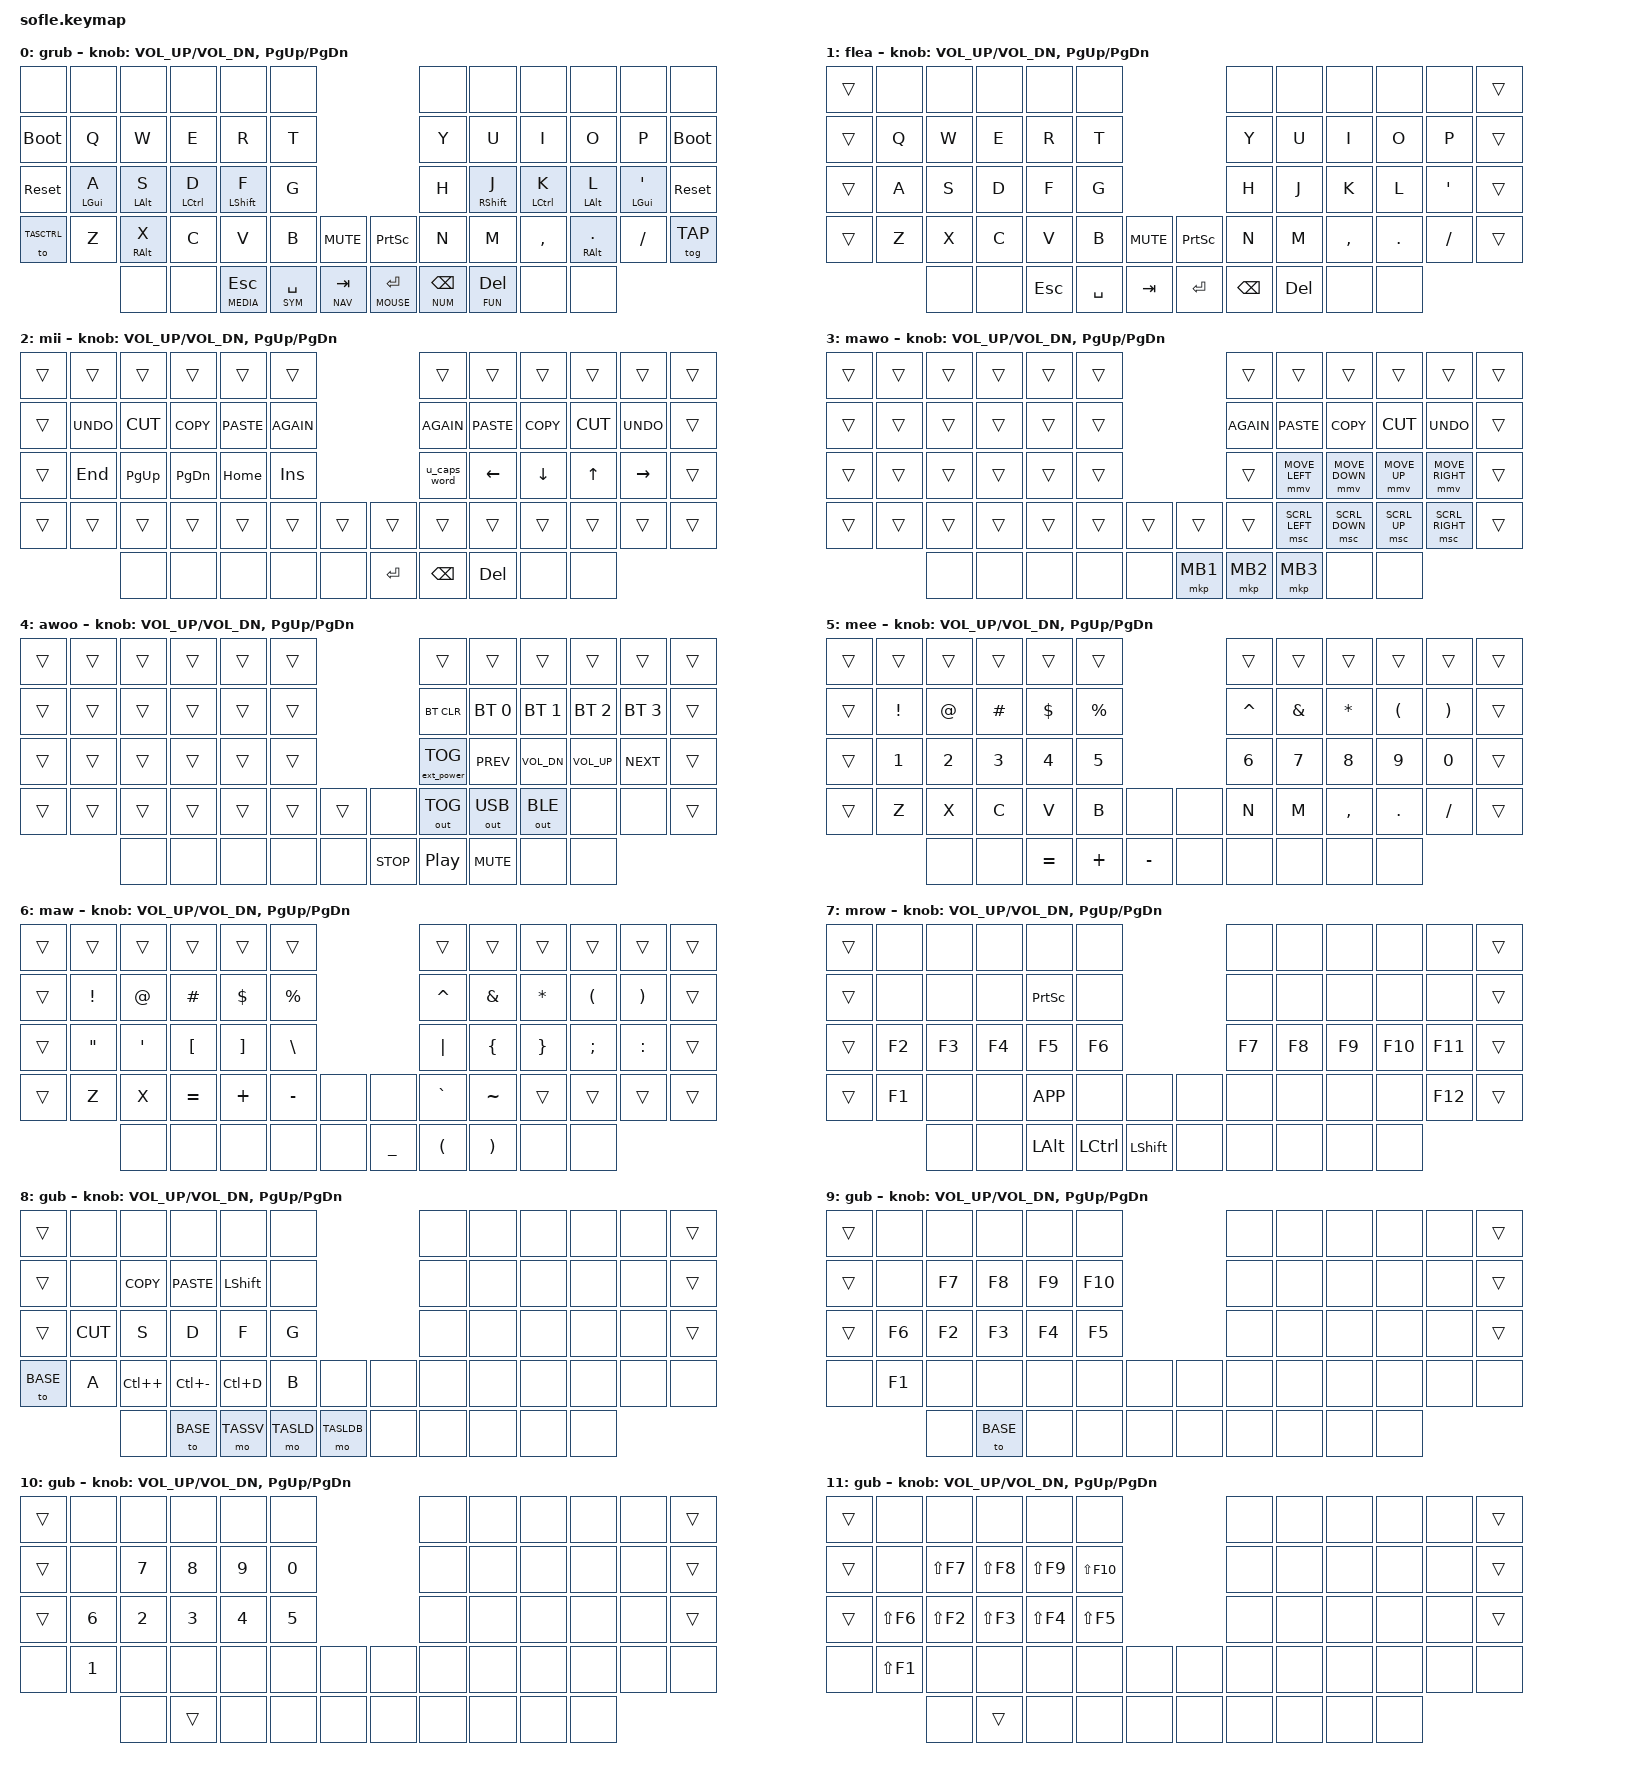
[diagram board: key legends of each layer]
/*
 * Copyright (c) 2020 The ZMK Contributors
 *
 * SPDX-License-Identifier: MIT
 */

#include <behaviors.dtsi>
#include <dt-bindings/zmk/keys.h>
#include <dt-bindings/zmk/pointing.h>
#include <dt-bindings/zmk/bt.h>
#include <dt-bindings/zmk/rgb.h>
#include <dt-bindings/zmk/outputs.h>
#include <dt-bindings/zmk/ext_power.h>

#include "zmk-helpers/key-labels/sofle.h"

#define BASE     0
#define TAP      1
#define NAV      2
#define MOUSE    3
#define MEDIA    4
#define NUM      5
#define SYM      6
#define FUN      7
#define TASCTRL  8
#define TASLD    9
#define TASLDB   10
#define TASSV    11

/ {
    behaviors {
        hml: hml {
            compatible = "zmk,behavior-hold-tap";
            #binding-cells = <2>;
            flavor = "balanced";
            tapping-term-ms = <280>;
            quick-tap-ms = <175>;
            require-prior-idle-ms = <125>;
            bindings = <&kp>, <&kp>;
            hold-trigger-key-positions = <KEYS_R THUMBS>;
            hold-trigger-on-release;
        };
        
        hmr: hmr {
            compatible = "zmk,behavior-hold-tap";
            #binding-cells = <2>;
            tapping-term-ms = <280>;
            quick-tap-ms = <175>;
            require-prior-idle-ms = <125>;
            bindings = <&kp>, <&kp>;
            hold-trigger-key-positions = <KEYS_L THUMBS>;
            hold-trigger-on-release;
        };

        u_lt: u_lt {
            compatible = "zmk,behavior-hold-tap";
            #binding-cells = <2>;
            tapping-term-ms = <200>;
            flavor = "tap-preferred";
            bindings = <&mo>, <&kp>;
        };
        
        u_caps_word: u_caps_word {
            compatible = "zmk,behavior-mod-morph";
            #binding-cells = <0>;
            bindings = <&caps_word>, <&kp CAPS>;
            mods = <(MOD_LSFT|MOD_RSFT)>;
        };
    };

    keymap {
        compatible = "zmk,keymap";

        default_layer {
            display-name = "grub";
// --------------------------------------------------------------------------------------------------
// | BOOT |  1  |  2  |  3   |  4  |   5   |                 |   6   |  7  |  8  |  9  |  0  | BOOT |
// | RST  |  Q  |  W  |  E   |  R  |   T   |                 |   Y   |  U  |  I  |  O  |  P  | RST  |
// |      |  A  |  S  |  D   |  F  |   G   |                 |   H   |  J  |  K  |  L  |  '  |      |
// |      |  Z  |  X  |  C   |  V  |   B   | MUTE |  | PSCR  |   N   |  M  |  ,  |  .  |  /  |      |
//              |     |      | ESC | SPACE | TAB  |  | ENTER | BKSPC | DEL |     |     |
            bindings = <
&none       &none       &none       &none           &none           &none					                            &none           &none           &none           &none           &none           &none
&bootloader &kp Q       &kp W       &kp E           &kp R	        &kp T							                    &kp Y           &kp U           &kp I           &kp O           &kp P           &bootloader
&sys_reset  &hml LGUI A &hml LALT S &hml LCTRL D    &hml LSHFT F 	&kp G							                    &kp H           &hmr RSHFT J    &hmr LCTRL K    &hmr LALT L     &hmr LGUI SQT   &sys_reset
&to TASCTRL &kp Z       &hml RALT X &kp C           &kp V           &kp B           &kp C_MUTE          &kp PSCRN       &kp N           &kp M           &kp COMMA       &hmr RALT DOT   &kp FSLH        &tog TAP
                        &none	    &none           &u_lt MEDIA ESC &u_lt SYM SPACE &u_lt NAV TAB	    &u_lt MOUSE RET &u_lt NUM BSPC  &u_lt FUN DEL   &none           &none
            >;

            sensor-bindings = <&inc_dec_kp C_VOL_UP C_VOL_DN &inc_dec_kp PG_UP PG_DN>;
        };

        tap_layer {
            display-name = "flea";
// -------------------------------------------------------------------------------------------------
// | BOOT |  1  |  2  |  3  |  4  |   5   |                 |   6   |  7  |  8  |  9  |  0  | BOOT |
// | RST  |  Q  |  W  |  E  |  R  |   T   |                 |   Y   |  U  |  I  |  O  |  P  | RST  |
// |      |  A  |  S  |  D  |  F  |   G   |                 |   H   |  J  |  K  |  L  |  '  |      |
// |      |  Z  |  X  |  C  |  V  |   B   | MUTE |  | PSCR  |   N   |  M  |  ,  |  .  |  /  |      |
//              |     |     | ESC | SPACE | TAB  |  | ENTER | BKSPC | DEL |     |     |
            bindings = <
&trans  &none   &none   &none   &none   &none					            &none       &none   &none       &none   &none       &trans
&trans  &kp Q   &kp W   &kp E   &kp R	&kp T							    &kp Y       &kp U   &kp I       &kp O   &kp P       &trans
&trans  &kp A   &kp S   &kp D	&kp F   &kp G					            &kp H       &kp J   &kp K       &kp L   &kp SQT     &trans
&trans  &kp Z   &kp X	&kp C   &kp V   &kp B       &kp C_MUTE  &kp PSCRN   &kp N       &kp M   &kp COMMA   &kp DOT &kp FSLH    &trans
                &none	&none   &kp ESC &kp SPACE   &kp TAB	    &kp RET     &kp BSPC    &kp DEL &none       &none
            >;

            sensor-bindings = <&inc_dec_kp C_VOL_UP C_VOL_DN &inc_dec_kp PG_UP PG_DN>;
        };

        nav_layer {
            display-name = "mii";
// ----------------------------------------------------------------------------------------------------
// | BOOT |  1  |  2   |  3   |  4   |  5  |               |  6    |   7   |  8   |  9  |   0  | BOOT |
// | RST  |  Q  |  W   |  E   |  R   |  T  |               | REDO  | PASTE | COPY | CUT | UNDO | RST  |
// |      | END | PGUP | PGDN | HOME |  G  |               |  H    |   🠜   |  🠟   |  🠝  |   🠞  |      |
// |      |  Z  |  X   |  C   |  V   |  B  |    |  |       |  N    |   M   |  ,   |  .  |  /   |      |
//              |      |      |      |     |    |  | ENTER | BKSPC |  DEL  |      |     |
            bindings = <
&trans  &trans      &trans      &trans      &trans      &trans						&trans          &trans      &trans      &trans      &trans      &trans
&trans  &kp K_UNDO  &kp K_CUT   &kp K_COPY  &kp K_PASTE	&kp K_AGAIN					&kp K_AGAIN     &kp K_PASTE &kp K_COPY  &kp K_CUT   &kp K_UNDO  &trans
&trans  &kp END     &kp PG_UP   &kp PG_DN	&kp HOME	&kp INS				        &u_caps_word    &kp LEFT    &kp DOWN    &kp UP      &kp RIGHT   &trans
&trans  &trans      &trans	    &trans      &trans      &trans      &trans  &trans  &trans          &trans      &trans      &trans      &trans      &trans
                    &none	    &none       &none       &none       &none	&kp RET &kp BSPC        &kp DEL     &none       &none
            >;

            sensor-bindings = <&inc_dec_kp C_VOL_UP C_VOL_DN &inc_dec_kp PG_UP PG_DN>;
        };

        mouse_layer {
            display-name = "mawo";
// ------------------------------------------------------------------------------------------------
// | BOOT |  1  |  2  |  3  |  4  |  5  |               |  6   |   7   |  8   |  9  |   0  | BOOT |
// | RST  |  Q  |  W  |  E  |  R  |  T  |               | REDO | PASTE | COPY | CUT | UNDO | RST  |
// |      |  A  |  S  |  D  |  F  |  G  |               |  H   |   ⬅   |  ⬇   |  ⬆  |  ➡   |      |
// |      |  Z  |  X  |  C  |  V  |  B  |    |  |       |  N   |   ⇦   |  ⇧   |  ⇩  |  ⇨   |      |
//              |     |     |     |     |    |  | MB_L  | MB_R | MB_M  |      |     |
            bindings = <
&trans  &trans      &trans      &trans      &trans      &trans						        &trans      &trans          &trans          &trans          &trans          &trans
&trans  &trans      &trans      &trans      &trans      &trans						        &kp K_AGAIN &kp K_PASTE     &kp K_COPY      &kp K_CUT       &kp K_UNDO      &trans
&trans  &trans      &trans      &trans      &trans      &trans						        &trans      &mmv MOVE_LEFT  &mmv MOVE_DOWN  &mmv MOVE_UP    &mmv MOVE_RIGHT &trans
&trans  &trans      &trans  	&trans      &trans      &trans      &trans      &trans      &trans      &msc SCRL_LEFT  &msc SCRL_DOWN  &msc SCRL_UP    &msc SCRL_RIGHT &trans
                    &none	    &none       &none       &none       &none	    &mkp MB1    &mkp MB2    &mkp MB3        &none           &none
            >;

            sensor-bindings = <&inc_dec_kp C_VOL_UP C_VOL_DN &inc_dec_kp PG_UP PG_DN>;
        };

        media_layer {
            display-name = "awoo";
// ----------------------------------------------------------------------------------------------
// | BOOT |  1  |  2  |  3  |  4  |  5  |             |  6   |   7  |  8   |  9   |   0  | BOOT |
// | RST  |  Q  |  W  |  E  |  R  |  T  |             | CLR  | BL 0 | BL 1 | BL 2 | BL 3 | RST  |
// |      |  A  |  S  |  D  |  F  |  G  |             |  H   |  ⏮   |  🕩   |  🕪   |  ⏭   |      |
// |      |  Z  |  X  |  C  |  V  |  B  |    |  |     | TOG  | USB  | BLE  |      |      |      |
//              |     |     |     |     |    |  | ⏹   |  ⏯   |  🕨   |      |      |
            bindings = <
&trans  &trans  &trans  &trans  &trans  &trans						    &trans              &trans          &trans          &trans          &trans          &trans
&trans  &trans  &trans  &trans  &trans  &trans			    		    &bt BT_CLR          &bt BT_SEL 0    &bt BT_SEL 1    &bt BT_SEL 2    &bt BT_SEL 3    &trans
&trans  &trans  &trans  &trans  &trans  &trans					        &ext_power EP_TOG   &kp C_PREV      &kp C_VOL_DN    &kp C_VOL_UP    &kp C_NEXT      &trans
&trans  &trans  &trans  &trans  &trans  &trans  &trans      &none       &out OUT_TOG        &out OUT_USB    &out OUT_BLE    &none           &none           &trans
                &none	&none   &none   &none   &none	    &kp C_STOP  &kp C_PP            &kp C_MUTE      &none           &none
            >;                                         

            sensor-bindings = <&inc_dec_kp C_VOL_UP C_VOL_DN &inc_dec_kp PG_UP PG_DN>;
        };

        num_layer {
            display-name = "mee";
// ------------------------------------------------------------------------------------------
// | BOOT |     |     |     |     |     |              |     |     |     |     |     | BOOT |
// | RST  |  !  |  @  |  #  |  $  |  %  |              |  ^  |  &  |  *  |  (  |  )  | RST  |
// |      |  1  |  2  |  3  |  4  |  5  |              |  6  |  7  |  8  |  9  |  0  |      |
// |      |     |     |     |     |     |     |  |     |     |     |  ,  |  .  |  /  |      |
//              |     |     |  =  |  +  |  -  |  |     |     |     |     |     |
            bindings = <
&trans  &trans      &trans  &trans      &trans      &trans						    &trans      &trans      &trans      &trans      &trans      &trans
&trans  &kp EXCL    &kp AT  &kp HASH    &kp DLLR    &kp PRCNT                       &kp CARET   &kp AMPS    &kp ASTRK   &kp LPAR    &kp RPAR    &trans
&trans  &kp N1      &kp N2  &kp N3      &kp N4      &kp N5							&kp N6      &kp N7      &kp N8      &kp N9      &kp N0      &trans
&trans  &kp Z       &kp X	&kp C       &kp V       &kp B       &none       &none   &kp N       &kp M       &kp COMMA   &kp DOT     &kp FSLH    &trans
                    &none	&none       &kp EQUAL   &kp PLUS    &kp MINUS	&none   &none       &none       &none       &none
            >;

            sensor-bindings = <&inc_dec_kp C_VOL_UP C_VOL_DN &inc_dec_kp PG_UP PG_DN>;
        };

        sym_layer {
            display-name = "maw";
// ------------------------------------------------------------------------------------------
// | BOOT |     |     |     |     |     |              |     |     |     |     |     | BOOT |
// | RST  |  !  |  @  |  #  |  $  |  %  |              |  ^  |  &  |  *  |  (  |  )  | RST  |
// |      |  "  |  '  |  [  |  ]  |  \  |              |  |  |  {  |  }  |  ;  |  :  |      |
// |      |     |     |  =  |  +  |  -  |     |  |     |  `  |  ~  |  ,  |  .  |  /  |      |
//              |     |     |  (  |  )  |  _  |  |     |     |     |     |     |
            bindings = <
&trans  &trans      &trans  &trans      &trans      &trans						        &trans      &trans      &trans      &trans      &trans      &trans
&trans  &kp EXCL    &kp AT  &kp HASH    &kp DLLR    &kp PRCNT                           &kp CARET   &kp AMPS    &kp ASTRK   &kp LPAR    &kp RPAR    &trans
&trans  &kp DQT     &kp SQT &kp LBKT    &kp RBKT    &kp BSLH						    &kp PIPE    &kp LBRC    &kp RBRC    &kp SEMI    &kp COLON   &trans
&trans  &kp Z       &kp X	&kp EQUAL   &kp PLUS    &kp MINUS   &none       &none       &kp GRAVE   &kp TILDE   &trans      &trans      &trans      &trans
                    &none	&none       &none       &none       &none	    &kp UNDER   &kp LPAR    &kp RPAR    &none       &none
            >;

            sensor-bindings = <&inc_dec_kp C_VOL_UP C_VOL_DN &inc_dec_kp PG_UP PG_DN>;
        };

        fun_layer {
            display-name = "mrow";
// ----------------------------------------------------------------------------------------------
// | BOOT |     |     |     |      |      |                |     |     |     |     |     | BOOT |
// | RST  |     |     |     | PSCR |      |                |     |     |     |     |     | RST  |
// |      | F2  | F3  | F4  | F5   |  F6  |                | F7  | F8  | F9  | F10 | F11 |      |
// |      | F1  |     |     | COMP |      |       |  |     |     |     |     |     | F12 |      |
//              |     |     | ALT  | CTRL | SHIFT |  |     |     |     |     |     |
            bindings = <
&trans  &none   &none   &none   &none       &none							&none   &none   &none   &none   &none   &trans
&trans  &none   &none   &none   &kp PSCRN	&none							&none   &none   &none   &none   &none   &trans
&trans  &kp F2  &kp F3  &kp F4	&kp F5	    &kp F6							&kp F7  &kp F8  &kp F9  &kp F10 &kp F11 &trans
&trans  &kp F1  &none	&none   &kp K_APP   &none       &none       &none   &none   &none   &none   &none   &kp F12 &trans
                &none	&none   &kp LALT    &kp LCTRL   &kp LSHFT	&none   &none   &none   &none   &none
            >;

            sensor-bindings = <&inc_dec_kp C_VOL_UP C_VOL_DN &inc_dec_kp PG_UP PG_DN>;
        };

        tas_ctrl_layer {
            display-name = "gub";
// --------------------------------------------------------------------------------------------
// | BOOT |     |     |     |     |     |               |     |     |     |     |     |     |
// | RST  |     |     |     |     |     |               |     |     |     |     |     |     |
// |      |  A  |  S  |  D  |  F  |  G  |               |     |     |     |     |     |     |
// |      |     |     |     |  V  |     |      |  |     |     |     |     |     |     |     |
//              |     |     |     |     |      |  |     |     |     |     |     |
            bindings = <
&trans      &none       &none           &none           &none       &none					            &none   &none   &none   &none   &none   &trans
&trans      &none       &kp K_COPY      &kp K_PASTE     &kp LSHFT   &none					            &none   &none   &none   &none   &none   &trans
&trans      &kp K_CUT   &kp S           &kp D           &kp F       &kp G					            &none   &none   &none   &none   &none   &trans
&to BASE    &kp A       &kp LC(PLUS)    &kp LC(MINUS)   &kp LC(D)   &kp B       &none           &none   &none   &none   &none   &none   &none   &none
                        &none	        &to BASE        &mo TASSV   &mo TASLD   &mo TASLDB      &none   &none   &none   &none   &none
            >;

            sensor-bindings = <&inc_dec_kp C_VOL_UP C_VOL_DN &inc_dec_kp PG_UP PG_DN>;
        };

        tas_load_layer {
            display-name = "gub";
// --------------------------------------------------------------------------------------------
// | BOOT |     |     |     |     |     |               |     |     |     |     |     |     |
// | RST  |     |     |     |     |     |               |     |     |     |     |     |     |
// |      |  A  |  S  |  D  |  F  |  G  |               |     |     |     |     |     |     |
// |      |     |     |     |  V  |     |      |  |     |     |     |     |     |     |     |
//              |     |     |     |     |      |  |     |     |     |     |     |
            bindings = <
&trans  &none   &none   &none       &none   &none					    &none   &none   &none   &none   &none   &trans
&trans  &none   &kp F7  &kp F8      &kp F9  &kp F10					    &none   &none   &none   &none   &none   &trans
&trans  &kp F6  &kp F2  &kp F3      &kp F4  &kp F5					    &none   &none   &none   &none   &none   &trans
&none   &kp F1  &none   &none       &none   &none   &none       &none   &none   &none   &none   &none   &none   &none
                &none	&to BASE    &none   &none   &none       &none   &none   &none   &none   &none
            >;

            sensor-bindings = <&inc_dec_kp C_VOL_UP C_VOL_DN &inc_dec_kp PG_UP PG_DN>;
        };

        tas_loadb_layer {
            display-name = "gub";
// --------------------------------------------------------------------------------------------
// | BOOT |     |     |     |     |     |               |     |     |     |     |     |     |
// | RST  |     |     |     |     |     |               |     |     |     |     |     |     |
// |      |  A  |  S  |  D  |  F  |  G  |               |     |     |     |     |     |     |
// |      |     |     |     |  V  |     |      |  |     |     |     |     |     |     |     |
//              |     |     |     |     |      |  |     |     |     |     |     |
            bindings = <
&trans  &none   &none   &none   &none   &none					    &none   &none   &none   &none   &none   &trans
&trans  &none   &kp N7  &kp N8  &kp N9  &kp N0					    &none   &none   &none   &none   &none   &trans
&trans  &kp N6  &kp N2  &kp N3  &kp N4  &kp N5					    &none   &none   &none   &none   &none   &trans
&none   &kp N1  &none   &none   &none   &none   &none       &none   &none   &none   &none   &none   &none   &none
                &none	&trans  &none   &none   &none       &none   &none   &none   &none   &none
            >;

            sensor-bindings = <&inc_dec_kp C_VOL_UP C_VOL_DN &inc_dec_kp PG_UP PG_DN>;
        };

        tas_save_layer {
            display-name = "gub";
// --------------------------------------------------------------------------------------------
// | BOOT |     |     |     |     |     |               |     |     |     |     |     |     |
// | RST  |     |     |     |     |     |               |     |     |     |     |     |     |
// |      |  A  |  S  |  D  |  F  |  G  |               |     |     |     |     |     |     |
// |      |     |     |     |  V  |     |      |  |     |     |     |     |     |     |     |
//              |     |     |     |     |      |  |     |     |     |     |     |
            bindings = <
&trans  &none       &none       &none       &none       &none		     			    &none   &none   &none   &none   &none   &trans
&trans  &none       &kp LS(F7)  &kp LS(F8)  &kp LS(F9)  &kp LS(F10)	    			    &none   &none   &none   &none   &none   &trans
&trans  &kp LS(F6)  &kp LS(F2)  &kp LS(F3)  &kp LS(F4)  &kp LS(F5)	    			    &none   &none   &none   &none   &none   &trans
&none   &kp LS(F1)  &none       &none       &none       &none       &none       &none   &none   &none   &none   &none   &none   &none
                    &none	    &trans      &none       &none       &none       &none   &none   &none   &none   &none
            >;

            sensor-bindings = <&inc_dec_kp C_VOL_UP C_VOL_DN &inc_dec_kp PG_UP PG_DN>;
        };
    };
};
